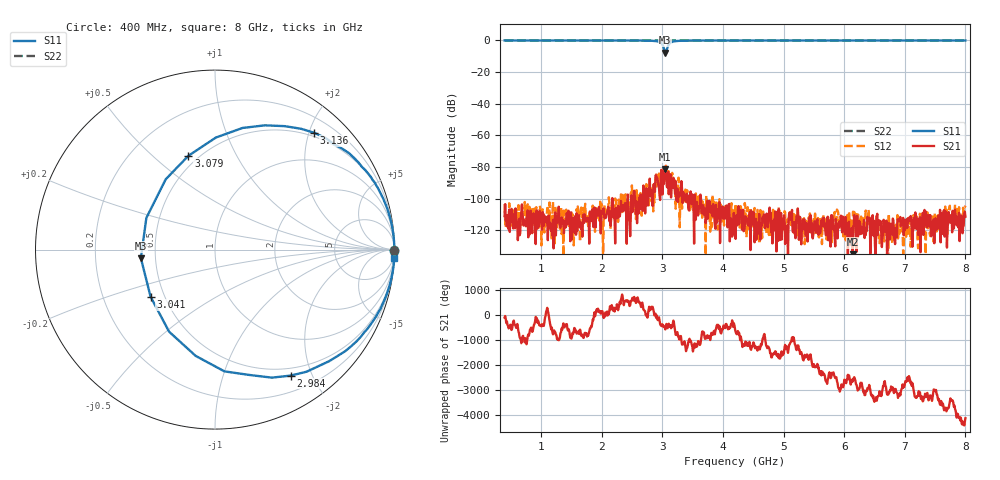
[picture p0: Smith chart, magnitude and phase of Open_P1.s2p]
!Nueva Lista de parametros Z
# Hz Z RI R 50
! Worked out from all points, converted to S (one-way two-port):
!   801 points, 400 MHz to 8 GHz, reference 50 ohm
!   highest |S21| = -81.19 dB at 3.05 GHz (marker M1); lowest = -138.7 dB at 6.138 GHz (marker M2)
!   lowest |S11| = -7.6 dB at 3.05 GHz (marker M3), VSWR 2.42, Z = 20.7 - j2.37 ohm
!   |S11| at or under -10 dB: nowhere
!   |S22| runs from 0.0 to 0.0 dB; largest |S21 - S12| = 0.00013
!   S11 on the Smith chart (normalised r, x): 400 MHz: open; 2.984 GHz: 0.40, -1.70; 3.041 GHz: 0.42, -0.27; 3.079 GHz: 0.44, +0.66; 3.136 GHz: 0.43, +2.09; 8 GHz: 2, -40
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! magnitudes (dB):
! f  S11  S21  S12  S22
! 400 MHz  0.0  -110.9  -103.4  0.0
! 1.673 GHz  0.0  -118.0  -111.6  0.0
! 2.737 GHz  -0.1  -93.5  -90.8  0.0
! 2.87 GHz  -0.3  -94.5  -102.4  0.0
! 2.937 GHz  -0.7  -92.5  -86.5  0.0
! 2.965 GHz  -1.2  -100.8  -91.2  0.0
! 2.984 GHz  -1.7  -81.8  -88.9  0.0
! 3.022 GHz  -4.4  -90.9  -80.5  0.0
! 3.041 GHz  -7.0  -82.1  -81.1  0.0
! 3.05 GHz  -7.6  -81.2  -83.3  0.0
! 3.07 GHz  -6.4  -90.0  -82.8  0.0
! 3.079 GHz  -5.3  -92.8  -87.4  0.0
! 3.117 GHz  -2.0  -88.5  -95.1  0.0
! 3.136 GHz  -1.4  -84.5  -96.5  0.0
! 3.164 GHz  -0.9  -91.0  -83.7  0.0
! 3.193 GHz  -0.6  -87.8  -91.7  0.0
! 3.307 GHz  -0.2  -93.8  -100.9  0.0
! 4.2 GHz  0.0  -113.4  -113.0  0.0
! 5.473 GHz  0.0  -123.2  -116.3  0.0
! 6.138 GHz  0.0  -138.7  -117.2  0.0
! 6.737 GHz  0.0  -115.4  -109.3  0.0
! 8 GHz  0.0  -111.3  -104.4  0.0
